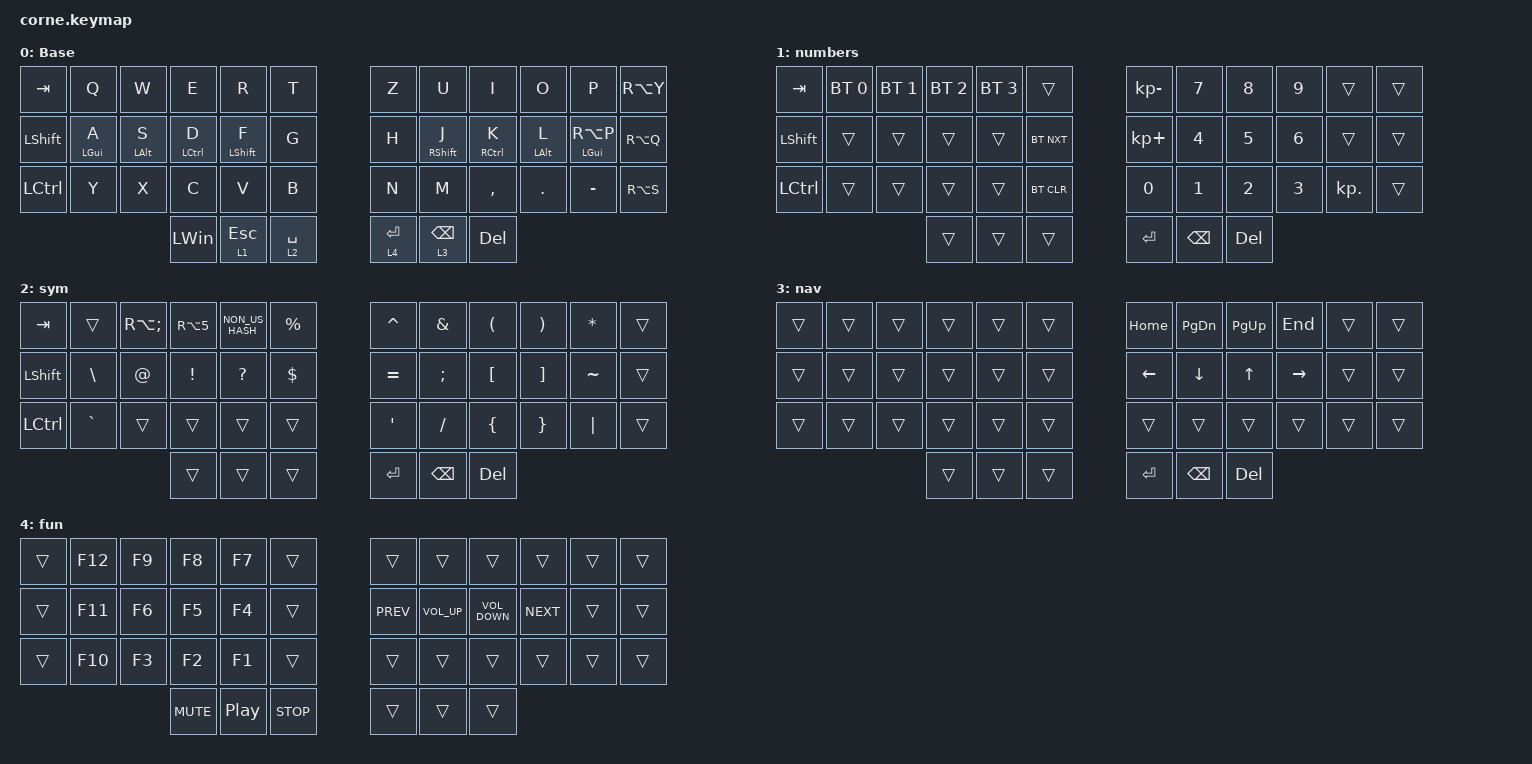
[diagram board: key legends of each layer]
/*
 * Copyright (c) 2020 The ZMK Contributors
 *
 * SPDX-License-Identifier: MIT
 */

#include <behaviors.dtsi>
#include <dt-bindings/zmk/bt.h>
#include <dt-bindings/zmk/keys.h>

&lt {
    flavor = "balanced";
    tapping-term-ms = <240>;
    quick-tap-ms = <150>;
};

&mt {
    flavor = "balanced";
    quick-tap-ms = <150>;
    tapping-term-ms = <240>;
};

/ {
    keymap {
        compatible = "zmk,keymap";

        default_layer {
            // -----------------------------------------------------------------------------------------
            // |  TAB |  Q  |  W  |  E  |  R  |  T  |   |  Y  |  U   |  I  |  O  |  P  | BKSP |
            // | CTRL |  A  |  S  |  D  |  F  |  G  |   |  H  |  J   |  K  |  L  |  ;  |  '   |
            // | SHFT |  Z  |  X  |  C  |  V  |  B  |   |  N  |  M   |  ,  |  .  |  /  | ESC  |
            //                    | GUI | LWR | SPC |   | ENT | RSE  | ALT |

            display-name = "Base";
            bindings = <
&kp TAB         &kp Q           &kp W           &kp E        &kp R             &kp T          &kp Z        &kp U              &kp I        &kp O       &kp P               &kp RA(Y)
&kp LEFT_SHIFT  &mt LEFT_GUI A  &mt LEFT_ALT S  &mt LCTRL D  &mt LEFT_SHIFT F  &kp G          &kp H        &mt RIGHT_SHIFT J  &mt RCTRL K  &mt LALT L  &mt LEFT_GUI RA(P)  &kp RA(Q)
&kp LCTRL       &kp Y           &kp X           &kp C        &kp V             &kp B          &kp N        &kp M              &kp COMMA    &kp DOT     &kp MINUS           &kp RA(S)
                                                &kp LWIN     &lt 1 ESCAPE      &lt 2 SPACE    &lt 4 ENTER  &lt 3 BACKSPACE    &kp DELETE
            >;
        };

        numbers {
            // -----------------------------------------------------------------------------------------
            // |  TAB |  1  |  2  |  3  |  4  |  5  |   |  6  |  7  |  8  |  9  |  0  | BKSP |
            // | BTCLR| BT1 | BT2 | BT3 | BT4 | BT5 |   | LFT | DWN |  UP | RGT |     |      |
            // | SHFT |     |     |     |     |     |   |     |     |     |     |     |      |
            //                    | GUI |     | SPC |   | ENT |     | ALT |

            display-name = "numbers";
            bindings = <
&kp TAB         &bt BT_SEL 0  &bt BT_SEL 1  &bt BT_SEL 2  &bt BT_SEL 3  &trans        &kp KP_MINUS  &kp N7         &kp N8      &kp N9  &trans      &trans
&kp LEFT_SHIFT  &trans        &trans        &trans        &trans        &bt BT_NXT    &kp KP_PLUS   &kp N4         &kp N5      &kp N6  &trans      &trans
&kp LCTRL       &trans        &trans        &trans        &trans        &bt BT_CLR    &kp NUMBER_0  &kp NUMBER_1   &kp N2      &kp N3  &kp KP_DOT  &trans
                                            &trans        &trans        &trans        &kp RET       &kp BACKSPACE  &kp DELETE
            >;

            label = "num";
        };

        symbols {
            // -----------------------------------------------------------------------------------------
            // |  TAB |  !  |  @  |  #  |  $  |  %  |   |  ^  |  &  |  *  |  (  |  )  | BKSP |
            // | CTRL |     |     |     |     |     |   |  -  |  =  |  [  |  ]  |  \  |  `   |
            // | SHFT |     |     |     |     |     |   |  _  |  +  |  {  |  }  | "|" |  ~   |
            //                    | GUI |     | SPC |   | ENT |     | ALT |

            display-name = "sym";
            bindings = <
&kp TAB         &trans         &kp RA(SEMICOLON)  &kp RA(NUMBER_5)  &kp NON_US_HASH  &kp PRCNT     &kp CARET       &kp AMPERSAND  &kp LEFT_PARENTHESIS  &kp RIGHT_PARENTHESIS  &kp ASTERISK  &trans
&kp LEFT_SHIFT  &kp BACKSLASH  &kp AT             &kp EXCLAMATION   &kp QUESTION     &kp DOLLAR    &kp EQUAL       &kp SEMICOLON  &kp LEFT_BRACKET      &kp RIGHT_BRACKET      &kp TILDE     &trans
&kp LCTRL       &kp GRAVE      &trans             &trans            &trans           &trans        &kp APOSTROPHE  &kp SLASH      &kp LEFT_BRACE        &kp RIGHT_BRACE        &kp PIPE      &trans
                                                  &trans            &trans           &trans        &kp RETURN      &kp BACKSPACE  &kp DELETE
            >;

            label = "sym";
        };

        navigation {
            bindings = <
&trans  &trans  &trans  &trans  &trans  &trans    &kp HOME   &kp PG_DN      &kp PG_UP     &kp END    &trans  &trans
&trans  &trans  &trans  &trans  &trans  &trans    &kp LEFT   &kp DOWN       &kp UP_ARROW  &kp RIGHT  &trans  &trans
&trans  &trans  &trans  &trans  &trans  &trans    &trans     &trans         &trans        &trans     &trans  &trans
                        &trans  &trans  &trans    &kp ENTER  &kp BACKSPACE  &kp DEL
            >;

            label = "nav";
        };

        fkeys_media {
            bindings = <
&trans  &kp F12  &kp F9  &kp F8      &kp F7    &trans        &trans      &trans        &trans             &trans      &trans  &trans
&trans  &kp F11  &kp F6  &kp F5      &kp F4    &trans        &kp C_PREV  &kp C_VOL_UP  &kp C_VOLUME_DOWN  &kp C_NEXT  &trans  &trans
&trans  &kp F10  &kp F3  &kp F2      &kp F1    &trans        &trans      &trans        &trans             &trans      &trans  &trans
                         &kp C_MUTE  &kp C_PP  &kp C_STOP    &trans      &trans        &trans
            >;

            label = "fun";
        };
    };
};
